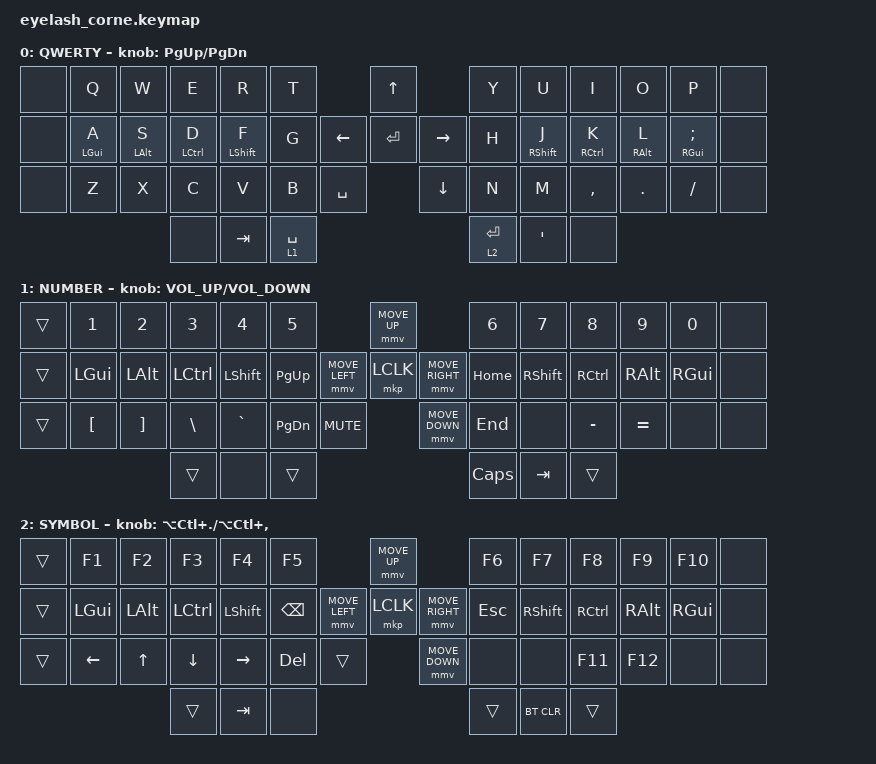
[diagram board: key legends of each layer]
#define ZMK_POINTING_DEFAULT_MOVE_VAL 1200
#define ZMK_POINTING_DEFAULT_SCRL_VAL 25

#include <input/processors.dtsi>
#include <zephyr/dt-bindings/input/input-event-codes.h>
#include <behaviors.dtsi>
#include <dt-bindings/zmk/bt.h>
#include <dt-bindings/zmk/keys.h>
#include <dt-bindings/zmk/pointing.h>
#include <dt-bindings/zmk/rgb.h>

&mmv_input_listener { input-processors = <&zip_xy_scaler 2 1>; };

&msc_input_listener { input-processors = <&zip_scroll_scaler 2 1>; };

&msc {
    acceleration-exponent = <1>;
    time-to-max-speed-ms = <100>;
    delay-ms = <0>;
};

&mmv {
    time-to-max-speed-ms = <500>;
    acceleration-exponent = <1>;
    trigger-period-ms = <16>;
};

&soft_off { hold-time-ms = <2000>; };

/* Home Row Mods 防误触优化 */

&mt {
    flavor = "tap-preferred";
    tapping-term-ms = <180>;
    quick-tap-ms = <150>;
    require-prior-idle-ms = <100>;
};

/ {
    behaviors {
        td0: td0 {
            compatible = "zmk,behavior-tap-dance";
            display-name = "Shift/Caps Lock Tap Dance";
            #binding-cells = <0>;
            bindings = <&kp LEFT_SHIFT>, <&kp CAPS>;
        };
    };

    rgb_encoder: rgb_encoder {
        compatible = "zmk,behavior-sensor-rotate";
        #sensor-binding-cells = <0>;
        bindings = <&rgb_ug RGB_BRI>, <&rgb_ug RGB_BRD>;
    };

    scroll_encoder: scroll_encoder {
        compatible = "zmk,behavior-sensor-rotate";
        #sensor-binding-cells = <0>;
        bindings = <&msc SCRL_DOWN>, <&msc SCRL_UP>;

        tap-ms = <100>;
    };

    combos {
        compatible = "zmk,combos";

        softoff {
            bindings = <&soft_off>;
            key-positions = <1 15 29>;
        };
    };

    keymap {
        compatible = "zmk,keymap";

        default_layer {
            display-name = "QWERTY";
            bindings = <
&none  &kp Q           &kp W           &kp E               &kp R             &kp T                               &kp UP                &kp Y        &kp U              &kp I                &kp O            &kp P               &none
&none  &mt LEFT_GUI A  &mt LEFT_ALT S  &mt LEFT_CONTROL D  &mt LEFT_SHIFT F  &kp G                     &kp LEFT  &kp ENTER  &kp RIGHT  &kp H        &mt RIGHT_SHIFT J  &mt RIGHT_CONTROL K  &mt RIGHT_ALT L  &mt RIGHT_GUI SEMI  &none
&none  &kp Z           &kp X           &kp C               &kp V             &kp B        &kp SPACE              &kp DOWN              &kp N        &kp M              &kp COMMA            &kp DOT          &kp FSLH            &none
                                       &none               &kp TAB           &lt 1 SPACE                                               &lt 2 ENTER  &kp APOS           &none
            >;

            sensor-bindings = <&inc_dec_kp PAGE_UP PAGE_DOWN>;
        };

        lower_layer {
            display-name = "NUMBER";
            bindings = <
&trans  &kp N1            &kp N2             &kp N3            &kp N4          &kp N5                                       &mmv MOVE_UP                     &kp N6    &kp N7           &kp N8             &kp N9         &kp N0         &none
&trans  &kp LEFT_GUI      &kp LEFT_ALT       &kp LEFT_CONTROL  &kp LEFT_SHIFT  &kp PAGE_UP                  &mmv MOVE_LEFT  &mkp LCLK       &mmv MOVE_RIGHT  &kp HOME  &kp RIGHT_SHIFT  &kp RIGHT_CONTROL  &kp RIGHT_ALT  &kp RIGHT_GUI  &none
&trans  &kp LEFT_BRACKET  &kp RIGHT_BRACKET  &kp BACKSLASH     &kp GRAVE       &kp PAGE_DOWN  &kp C_MUTE                    &mmv MOVE_DOWN                   &kp END   &none            &kp MINUS          &kp EQUAL      &none          &none
                                             &trans            &none           &trans                                                                        &kp CAPS  &kp TAB          &trans
            >;

            sensor-bindings = <&inc_dec_kp C_VOLUME_UP C_VOLUME_DOWN>;
        };

        raise_layer {
            display-name = "SYMBOL";
            bindings = <
&trans  &kp F1          &kp F2        &kp F3            &kp F4           &kp F5                                   &mmv MOVE_UP                     &kp F6      &kp F7           &kp F8             &kp F9         &kp F10        &none
&trans  &kp LEFT_GUI    &kp LEFT_ALT  &kp LEFT_CONTROL  &kp LEFT_SHIFT   &kp BACKSPACE            &mmv MOVE_LEFT  &mkp LCLK       &mmv MOVE_RIGHT  &kp ESCAPE  &kp RIGHT_SHIFT  &kp RIGHT_CONTROL  &kp RIGHT_ALT  &kp RIGHT_GUI  &none
&trans  &kp LEFT_ARROW  &kp UP_ARROW  &kp DOWN_ARROW    &kp RIGHT_ARROW  &kp DEL        &trans                    &mmv MOVE_DOWN                   &none       &none            &kp F11            &kp F12        &none          &none
                                      &trans            &kp TAB          &none                                                                     &trans      &bt BT_CLR       &trans
            >;

            sensor-bindings = <&inc_dec_kp LA(LC(PERIOD)) LA(LC(COMMA))>;
        };
    };
};
